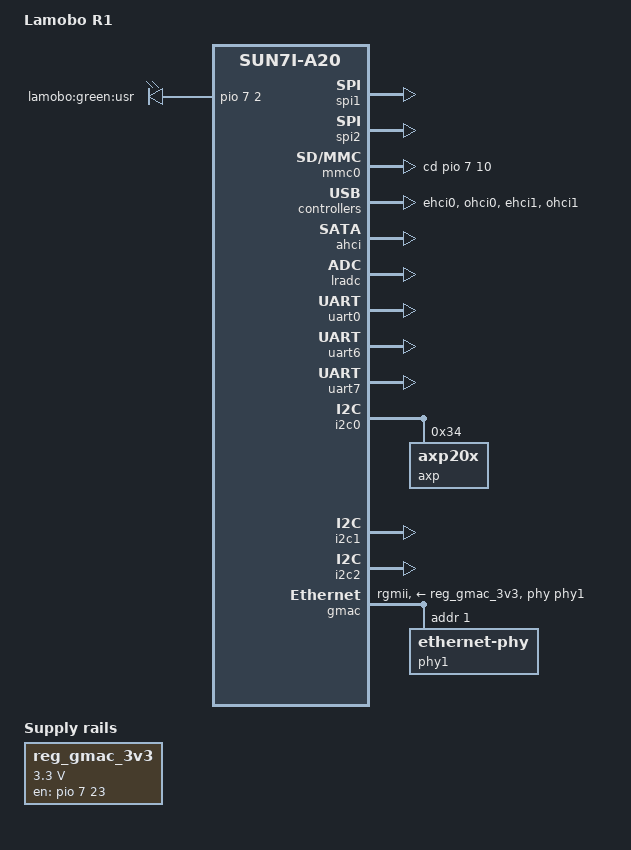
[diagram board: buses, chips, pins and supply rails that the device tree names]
/*
 * Copyright 2014 Zoltan HERPAI
 * Zoltan HERPAI <wigyori@uid0.hu>
 *
 * The code contained herein is licensed under the GNU General Public
 * License. You may obtain a copy of the GNU General Public License
 * Version 2 or later at the following locations:
 *
 * http://www.opensource.org/licenses/gpl-license.html
 * http://www.gnu.org/copyleft/gpl.html
 */

/dts-v1/;
/include/ "sun7i-a20.dtsi"
/include/ "sunxi-common-regulators.dtsi"
#include <dt-bindings/input/input.h>

/ {
	model = "Lamobo R1";
	compatible = "lamobo,lamobo-r1", "allwinner,sun7i-a20";

	aliases {
		spi0 = &spi1;
		spi1 = &spi2;
	};

	soc@01c00000 {
		spi1: spi@01c06000 {
			pinctrl-names = "default";
			pinctrl-0 = <&spi1_pins_a>;
			status = "okay";
		};

		spi2: spi@01c17000 {
			pinctrl-names = "default";
			pinctrl-0 = <&spi2_pins_a>;
			status = "okay";
		};

		mmc0: mmc@01c0f000 {
			pinctrl-names = "default", "default";
			pinctrl-0 = <&mmc0_pins_a>;
			pinctrl-1 = <&mmc0_cd_pin_lamobo>;
			cd-gpios = <&pio 7 10 0>; /* PH10 */
			status = "okay";
		};

		usbphy: phy@01c13400 {
			usb1_vbus-supply = <&reg_usb1_vbus>;
			usb2_vbus-supply = <&reg_usb2_vbus>;
			status = "okay";
		};

		ehci0: usb@01c14000 {
			status = "okay";
		};

		ohci0: usb@01c14400 {
			status = "okay";
		};

		ahci: sata@01c18000 {
			target-supply = <&reg_ahci_5v>;
			status = "okay";
		};

		ehci1: usb@01c1c000 {
			status = "okay";
		};

		ohci1: usb@01c1c400 {
			status = "okay";
		};

		pinctrl@01c20800 {
			led_pins_lamobo: led_pins@0 {
				allwinner,pins = "PH2";
				allwinner,function = "gpio_out";
				allwinner,drive = <1>;
				allwinner,pull = <0>;
			};

			mmc0_cd_pin_lamobo: mmc0_cd_pin@0 {
				allwinner,pins = "PH10";
				allwinner,function = "gpio_in";
				allwinner,drive = <0>;
				allwinner,pull = <1>;
			};
			
			gmac_power_pin_lamobo: gmac_power_pin@0 {
				allwinner,pins = "PH23";
				allwinner,function = "gpio_out";
				allwinner,drive = <0>;
				allwinner,pull = <0>;
			};
		};

		lradc: lradc@01c22800 {
			allwinner,chan0-step = <200>;
			linux,chan0-keycodes = <KEY_VOLUMEUP KEY_VOLUMEDOWN
						KEY_MENU KEY_SEARCH KEY_HOME
						KEY_ESC KEY_ENTER>;
			status = "okay";
		};

		ir0: ir@01c21800 {
			pinctrl-names = "default";
			pinctrl-0 = <&ir0_pins_a>;
			status = "okay";
		};

		uart0: serial@01c28000 {
			pinctrl-names = "default";
			pinctrl-0 = <&uart0_pins_a>;
			status = "okay";
		};

		uart6: serial@01c29800 {
			pinctrl-names = "default";
			pinctrl-0 = <&uart6_pins_a>;
			status = "okay";
		};

		uart7: serial@01c29c00 {
			pinctrl-names = "default";
			pinctrl-0 = <&uart7_pins_a>;
			status = "okay";
		};

		i2c0: i2c@01c2ac00 {
			pinctrl-names = "default";
			pinctrl-0 = <&i2c0_pins_a>;
			status = "okay";

			axp: axp20x@34 {
				reg = <0x34>;
				interrupt-parent = <&nmi_intc>;
				interrupts = <0 8>;
				axp,system-power-controller;
				/include/ "x-powers-axp209.dtsi"
			};
		};

		i2c1: i2c@01c2b000 {
			pinctrl-names = "default";
			pinctrl-0 = <&i2c1_pins_a>;
			status = "okay";
		};

		i2c2: i2c@01c2b400 {
			pinctrl-names = "default";
			pinctrl-0 = <&i2c2_pins_a>;
			status = "okay";
		};

		gmac: ethernet@01c50000 {
			pinctrl-names = "default";
			pinctrl-0 = <&gmac_pins_rgmii_a>;
			phy = <&phy1>;
			phy-mode = "rgmii";
			phy-supply = <&reg_gmac_3v3>;
			status = "okay";

			phy1: ethernet-phy@1 {
				reg = <1>;
			};
		};
	};

	leds {
		compatible = "gpio-leds";
		pinctrl-names = "default";
		pinctrl-0 = <&led_pins_lamobo>;

		green {
			label = "lamobo:green:usr";
			gpios = <&pio 7 2 0>;
			default-state = "on";
		};
	};

	reg_ahci_5v: ahci-5v {
			status = "okay";
	};

	reg_usb1_vbus: usb1-vbus {
			status = "okay";
	};

	reg_usb2_vbus: usb2-vbus {
			status = "okay";
	};

	reg_gmac_3v3: gmac-3v3 {
			compatible = "regulator-fixed";
			pinctrl-names = "default";
			pinctrl-0 = <&gmac_power_pin_lamobo>;
			regulator-name = "gmac-3v3";
			regulator-min-microvolt = <3300000>;
			regulator-max-microvolt = <3300000>;
			startup-delay-us = <50000>;
			enable-active-high;
			gpio = <&pio 7 23 0>;
			status = "okay";
	};
};
